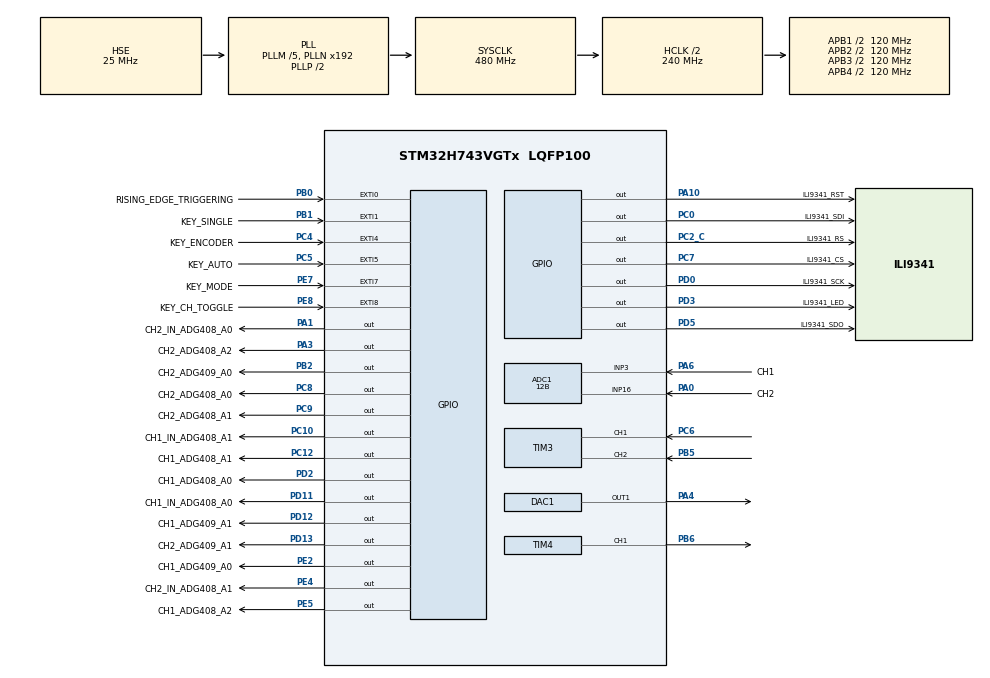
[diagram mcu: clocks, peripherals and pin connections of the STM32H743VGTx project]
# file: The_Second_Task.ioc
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ADC1.Channel-0\#ChannelRegularConversion=ADC_CHANNEL_3
ADC1.Channel-1\#ChannelRegularConversion=ADC_CHANNEL_16
ADC1.ConversionDataManagement=ADC_CONVERSIONDATA_DMA_CIRCULAR
ADC1.ExternalTrigConv=ADC_EXTERNALTRIG_T2_TRGO
ADC1.NbrOfConversion=2
ADC1.NbrOfConversionFlag=1
ADC1.OffsetNumber-0\#ChannelRegularConversion=ADC_OFFSET_NONE
ADC1.OffsetNumber-1\#ChannelRegularConversion=ADC_OFFSET_NONE
ADC1.OffsetSignedSaturation-0\#ChannelRegularConversion=DISABLE
ADC1.Overrun=ADC_OVR_DATA_OVERWRITTEN
ADC1.Rank-0\#ChannelRegularConversion=1
ADC1.Rank-1\#ChannelRegularConversion=2
ADC1.Resolution=ADC_RESOLUTION_12B
ADC1.SamplingTime-0\#ChannelRegularConversion=ADC_SAMPLETIME_1CYCLE_5
ADC1.SamplingTime-1\#ChannelRegularConversion=ADC_SAMPLETIME_1CYCLE_5
ADC1.master=1
CORTEX_M7.default_mode_Activation=1
DAC1.DAC_Channel-DAC_OUT1=DAC_CHANNEL_1
Dma.ADC1.0.Direction=DMA_PERIPH_TO_MEMORY
Dma.ADC1.0.EventEnable=DISABLE
Dma.ADC1.0.FIFOMode=DMA_FIFOMODE_DISABLE
Dma.ADC1.0.Instance=DMA1_Stream0
Dma.ADC1.0.MemDataAlignment=DMA_MDATAALIGN_HALFWORD
Dma.ADC1.0.MemInc=DMA_MINC_ENABLE
Dma.ADC1.0.Mode=DMA_CIRCULAR
Dma.ADC1.0.PeriphDataAlignment=DMA_PDATAALIGN_HALFWORD
Dma.ADC1.0.PeriphInc=DMA_PINC_DISABLE
Dma.ADC1.0.Polarity=HAL_DMAMUX_REQ_GEN_RISING
Dma.ADC1.0.Priority=DMA_PRIORITY_LOW
Dma.ADC1.0.RequestNumber=1
Dma.ADC1.0.SignalID=NONE
Dma.ADC1.0.SyncEnable=DISABLE
Dma.ADC1.0.SyncPolarity=HAL_DMAMUX_SYNC_NO_EVENT
Dma.ADC1.0.SyncRequestNumber=1
Dma.ADC1.0.SyncSignalID=NONE
Dma.Request0=ADC1
Mcu.Family=STM32H7
Mcu.Name=STM32H743VGTx
Mcu.Package=LQFP100
NVIC.DMA1_Stream0_IRQn=true\:0\:0\:false\:false\:true\:false\:true\:true
NVIC.EXTI0_IRQn=true\:0\:0\:false\:false\:true\:true\:true\:true
NVIC.EXTI1_IRQn=true\:0\:0\:false\:false\:true\:true\:true\:true
NVIC.EXTI4_IRQn=true\:0\:0\:false\:false\:true\:true\:true\:true
NVIC.EXTI9_5_IRQn=true\:0\:0\:false\:false\:true\:true\:true\:true
NVIC.PriorityGroup=NVIC_PRIORITYGROUP_4
PA0.GPIO_Label=CH2
PA0.Mode=IN16-Single-Ended
PA0.Signal=ADC1_INP16
PA1.GPIO_Label=CH2_IN_ADG408_A0
PA1.Signal=GPIO_Output
PA10.GPIO_Label=ILI9341_RST
PA10.Signal=GPIO_Output
PA13\ (JTMS/SWDIO).Mode=Serial_Wire
PA13\ (JTMS/SWDIO).Signal=DEBUG_JTMS-SWDIO
PA14\ (JTCK/SWCLK).Mode=Serial_Wire
PA14\ (JTCK/SWCLK).Signal=DEBUG_JTCK-SWCLK
PA3.GPIO_Label=CH2_ADG408_A2
PA3.GPIO_Speed=GPIO_SPEED_FREQ_HIGH
PA3.Signal=GPIO_Output
PA4.Signal=COMP_DAC11_group
PA6.GPIO_Label=CH1
PA6.Signal=ADCx_INP3
PB0.GPIO_Label=RISING_EDGE_TRIGGERING
PB0.GPIO_ModeDefaultEXTI=GPIO_MODE_IT_RISING
PB0.Signal=GPXTI0
PB1.GPIO_Label=KEY_SINGLE
PB1.GPIO_ModeDefaultEXTI=GPIO_MODE_IT_RISING
PB1.GPIO_PuPd=GPIO_PULLDOWN
PB1.Signal=GPXTI1
PB2.GPIO_Label=CH2_ADG409_A0
PB2.GPIO_Speed=GPIO_SPEED_FREQ_HIGH
PB2.Signal=GPIO_Output
PB5.Signal=S_TIM3_CH2
PB6.Signal=S_TIM4_CH1
PC0.GPIO_Label=ILI9341_SDI
PC0.Signal=GPIO_Output
PC10.GPIO_Label=CH1_IN_ADG408_A1
PC10.Signal=GPIO_Output
PC12.GPIO_Label=CH1_ADG408_A1
PC12.GPIO_Speed=GPIO_SPEED_FREQ_HIGH
PC12.Signal=GPIO_Output
PC2_C.GPIO_Label=ILI9341_RS
PC2_C.Signal=GPIO_Output
PC4.GPIO_Label=KEY_ENCODER
PC4.GPIO_ModeDefaultEXTI=GPIO_MODE_IT_FALLING
PC4.GPIO_PuPd=GPIO_PULLUP
PC4.Signal=GPXTI4
PC5.GPIO_Label=KEY_AUTO
PC5.GPIO_ModeDefaultEXTI=GPIO_MODE_IT_RISING
PC5.GPIO_PuPd=GPIO_PULLDOWN
PC5.Signal=GPXTI5
PC6.Signal=S_TIM3_CH1
PC7.GPIO_Label=ILI9341_CS
PC7.Signal=GPIO_Output
PC8.GPIO_Label=CH2_ADG408_A0
PC8.GPIO_Speed=GPIO_SPEED_FREQ_HIGH
PC8.Signal=GPIO_Output
PC9.GPIO_Label=CH2_ADG408_A1
PC9.GPIO_Speed=GPIO_SPEED_FREQ_HIGH
PC9.Signal=GPIO_Output
PD0.GPIO_Label=ILI9341_SCK
PD0.Signal=GPIO_Output
PD11.GPIO_Label=CH1_IN_ADG408_A0
PD11.Signal=GPIO_Output
PD12.GPIO_Label=CH1_ADG409_A1
PD12.GPIO_Speed=GPIO_SPEED_FREQ_HIGH
PD12.Signal=GPIO_Output
PD13.GPIO_Label=CH2_ADG409_A1
PD13.GPIO_Speed=GPIO_SPEED_FREQ_HIGH
PD13.Signal=GPIO_Output
PD2.GPIO_Label=CH1_ADG408_A0
PD2.GPIO_Speed=GPIO_SPEED_FREQ_HIGH
PD2.Signal=GPIO_Output
PD3.GPIO_Label=ILI9341_LED
PD3.Signal=GPIO_Output
PD5.GPIO_Label=ILI9341_SDO
PD5.Signal=GPIO_Output
PE2.GPIO_Label=CH1_ADG409_A0
PE2.GPIO_Speed=GPIO_SPEED_FREQ_HIGH
PE2.Signal=GPIO_Output
PE4.GPIO_Label=CH2_IN_ADG408_A1
PE4.Signal=GPIO_Output
PE5.GPIO_Label=CH1_ADG408_A2
PE5.GPIO_Speed=GPIO_SPEED_FREQ_HIGH
PE5.Signal=GPIO_Output
PE7.GPIO_Label=KEY_MODE
PE7.GPIO_ModeDefaultEXTI=GPIO_MODE_IT_RISING
PE7.GPIO_PuPd=GPIO_PULLDOWN
PE7.Signal=GPXTI7
PE8.GPIO_Label=KEY_CH_TOGGLE
PE8.GPIO_ModeDefaultEXTI=GPIO_MODE_IT_RISING
PE8.GPIO_PuPd=GPIO_PULLDOWN
PE8.Signal=GPXTI8
PH0-OSC_IN\ (PH0).Mode=HSE-External-Oscillator
PH0-OSC_IN\ (PH0).Signal=RCC_OSC_IN
PH1-OSC_OUT\ (PH1).Mode=HSE-External-Oscillator
PH1-OSC_OUT\ (PH1).Signal=RCC_OSC_OUT
ProjectManager.HeapSize=0x200
ProjectManager.StackSize=0x400
ProjectManager.TargetToolchain=CMake
RCC.ADCFreq_Value=75000000
RCC.APB1Freq_Value=120000000
RCC.APB2Freq_Value=120000000
RCC.APB3Freq_Value=120000000
RCC.APB4Freq_Value=120000000
RCC.CortexFreq_Value=480000000
RCC.D1PPRE=RCC_APB3_DIV2
RCC.D2PPRE1=RCC_APB1_DIV2
RCC.D2PPRE2=RCC_APB2_DIV2
RCC.D3PPRE=RCC_APB4_DIV2
RCC.DIVM1=5
RCC.DIVM2=2
RCC.DIVN1=192
RCC.DIVN2=12
RCC.HCLKFreq_Value=240000000
RCC.HPRE=RCC_HCLK_DIV2
RCC.PLL2FRACN=0
RCC.PLL3FRACN=0
RCC.PLLFRACN=0
RCC.PLLSourceVirtual=RCC_PLLSOURCE_HSE
RCC.SYSCLKFreq_VALUE=480000000
RCC.SYSCLKSource=RCC_SYSCLKSOURCE_PLLCLK
RCC.USBFreq_Value=480000000
SH.ADCx_INP3.0=ADC1_INP3,IN3-Single-Ended
SH.COMP_DAC11_group.0=DAC1_OUT1,DAC_OUT1
SH.S_TIM3_CH1.0=TIM3_CH1,Encoder_Interface
SH.S_TIM3_CH2.0=TIM3_CH2,Encoder_Interface
SH.S_TIM4_CH1.0=TIM4_CH1,PWM Generation1 CH1
TIM2.Period=1000
TIM2.TIM_MasterOutputTrigger=TIM_TRGO_UPDATE
TIM2.TIM_MasterSlaveMode=TIM_MASTERSLAVEMODE_ENABLE
TIM3.EncoderMode=TIM_ENCODERMODE_TI12
TIM4.Channel-PWM\ Generation1\ CH1=TIM_CHANNEL_1
TIM4.Period=999
TIM4.Prescaler=239
TIM4.Pulse-PWM\ Generation1\ CH1=500
VP_MEMORYMAP_VS_MEMORYMAP.Mode=CurAppReg
VP_TIM2_VS_ClockSourceINT.Mode=Internal
VP_TIM4_VS_ClockSourceINT.Mode=Internal
board=custom

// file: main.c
/* USER CODE BEGIN Header */
/**
  ******************************************************************************
  * @file           : main.c
  * @brief          : Main program body
  ******************************************************************************
  * @attention
  *
  * Copyright (c) 2026 STMicroelectronics.
  * All rights reserved.
  *
  * This software is licensed under terms that can be found in the LICENSE file
  * in the root directory of this software component.
  * If no LICENSE file comes with this software, it is provided AS-IS.
  *
  ******************************************************************************
  */
/* USER CODE END Header */
#include "main.h"
#include "adc.h"
#include "dac.h"
#include "dma.h"
#include "tim.h"
#include "gpio.h"

/* USER CODE BEGIN Includes */
#include "app_ui.h"
#include "algo_measure.h"
#include "ili9341_driver.h"
#include "bsp_adc.h"
#include "bsp_dac.h"
#include "bsp_timer.h"
#include "algo_trigger.h"
#include "bsp_encoder.h"
#include "app_calibration.h"
#include "app_auto.h"
#include "app_afe.h"
#include "algo_dsp.h"
/* USER CODE END Includes */

/* USER CODE BEGIN PV */
volatile uint8_t g_adc_half_ready = 0;
volatile uint8_t g_adc_full_ready = 0;
volatile uint8_t g_ui_display_channel = 1;
float g_display_zoom = 1.0f;
int8_t g_ch1_gear = 1;
int8_t g_ch2_gear = 1;
uint8_t g_ch1_coupling = 0;
uint8_t g_ch2_coupling = 0;

WaveParams_t g_out_put1 = {0};
WaveParams_t g_out_put2 = {0};
volatile OscState_t g_osc_state = OSC_STATE_RUN;

float g_ch1_volt_comp = 1.0f;
float g_ch2_volt_comp = 0.5f;
float g_ch1_freq_comp = 1.0f;
float g_ch2_freq_comp = 1.0f;

uint32_t current_sample_rate = 1000000;

uint16_t trigger_val_ch1 = 2048;
uint16_t trigger_val_ch2 = 2048;

uint8_t display_mode = 0;
uint8_t auto_flag = 0;
uint8_t cal_flag = 0;
uint8_t is_in_cal_mode = 0;
volatile KnobFocus_t current_focus = FOCUS_TRIGGER;

/* USER CODE END PV */

void SystemClock_Config(void);
static void MPU_Config(void);

int main(void)
{

  /* MPU Configuration--------------------------------------------------------*/
  MPU_Config();

  /* MCU Configuration--------------------------------------------------------*/

  /* Reset of all peripherals, Initializes the Flash interface and the Systick. */
  HAL_Init();

  /* Configure the system clock */
  SystemClock_Config();

  /* Initialize all configured peripherals */
  MX_GPIO_Init();
  MX_DMA_Init();
  MX_ADC1_Init();
  MX_TIM2_Init();
  MX_DAC1_Init();
  MX_TIM4_Init();
  MX_TIM3_Init();
  /* USER CODE BEGIN 2 */
  ILI9341_init(BLACK);
  BSP_Timer_SetSampleRate(current_sample_rate);
  BSP_Timer_Start();
  BSP_DAC_Init();
  BSP_DAC_SetVoltage(1.65f, 3.3f);
  BSP_Encoder_Init();
  BSP_ADC_Start();

  Algo_DSP_Init();

  AFE_SetGear_Dual(0);
  AFE_SetCoupling_Dual(0);
  /* USER CODE END 2 */

  /* Infinite loop */
  while (1)
  {

    /* USER CODE BEGIN 3 */
    //旋钮板块
    int16_t knob_delta = BSP_Encoder_GetDelta();
    if (knob_delta != 0)
    {
      switch (current_focus)
      {
        case FOCUS_TRIGGER:
        {
          int32_t temp_trig = (g_ui_display_channel == 1) ? trigger_val_ch1 : trigger_val_ch2;
          temp_trig += knob_delta * 50;
          if (temp_trig > 4095) temp_trig = 4095;
          if (temp_trig < 0) temp_trig = 0;

          if (g_ui_display_channel == 1)
          {
            trigger_val_ch1 = (uint16_t)temp_trig;
            BSP_DAC_SetVoltage(((float)trigger_val_ch1/4095.0f)*3.3f, 3.3f);
          }
          else
          {
            trigger_val_ch2 = (uint16_t)temp_trig;
            BSP_DAC_SetVoltage(((float)trigger_val_ch2/4095.0f)*3.3f, 3.3f);
          }
          break;
        }

        case FOCUS_VERTICAL:
        {
          int8_t* p_gear = (g_ui_display_channel == 1) ? &g_ch1_gear : &g_ch2_gear;
          if (knob_delta > 0 && *p_gear < 2) (*p_gear)++;
          if (knob_delta < 0 && *p_gear > 0) (*p_gear)--;
          AFE_SetGear_Single(g_ui_display_channel, *p_gear);
          break;
        }

        case FOCUS_TIMEBASE:
        {
          uint32_t virtual_sr = (uint32_t)(current_sample_rate * g_display_zoom);

          if (virtual_sr >= 1000000)     virtual_sr += knob_delta * 200000;
          else if (virtual_sr >= 100000) virtual_sr += knob_delta * 20000;
          else if (virtual_sr >= 10000)  virtual_sr += knob_delta * 2000;
          else if (virtual_sr >= 1000)   virtual_sr += knob_delta * 200;
          else                           virtual_sr += knob_delta * 20;

          if ((int32_t)virtual_sr < 10) virtual_sr = 10;
          if (virtual_sr > 10000000) virtual_sr = 10000000;

          uint32_t HARDWARE_MAX_SR = 1000000;

          if (virtual_sr > HARDWARE_MAX_SR)
          {
            current_sample_rate = HARDWARE_MAX_SR;
            g_display_zoom = (float)virtual_sr / (float)HARDWARE_MAX_SR;
          }
          else
          {
            current_sample_rate = virtual_sr;
            g_display_zoom = 1.0f;
          }

          BSP_Timer_SetSampleRate(current_sample_rate);
          break;
        }

        case FOCUS_COUPLING:
        {
          uint8_t* p_coup = (g_ui_display_channel == 1) ? &g_ch1_coupling : &g_ch2_coupling;
          *p_coup = !(*p_coup);

          AFE_SetCoupling_Single(g_ui_display_channel, *p_coup);
          break;
        }

        case FOCUS_CALIBRATION:
        {
          ILI9341_fill(0, 0, 240, 31, BLACK);
          is_in_cal_mode = !is_in_cal_mode;

          if (is_in_cal_mode)
          {
            ILI9341_draw_string(30, 8, "CAL MODE ON...", RED);

            int8_t* p_gear = (g_ui_display_channel == 1) ? &g_ch1_gear : &g_ch2_gear;
            *p_gear = 0;
            AFE_SetGear_Single(g_ui_display_channel, 0);

            AFE_EnterCalibrationMode(g_ui_display_channel);
            HAL_TIM_PWM_Start(&htim4, TIM_CHANNEL_1);
            cal_flag = 1;
          }
          else
          {
            ILI9341_draw_string(30, 8, "CAL MODE OFF...", WHITE);
            HAL_TIM_PWM_Stop(&htim4, TIM_CHANNEL_1);
            uint8_t prev_coup = (g_ui_display_channel == 1) ? g_ch1_coupling : g_ch2_coupling;
            AFE_SetCoupling_Single(g_ui_display_channel, prev_coup);
          }
          g_adc_full_ready = 0;
          break;
        }
      }
    }

    //单次触发板块
    if (g_osc_state == OSC_STATE_SINGLE_DONE)
    {
      UI_DrawGrid();
      g_adc_full_ready = 0;
      start_idx_ch1 = Algo_FindTriggerPoint(g_ch1_buffer, ADC_CHANNEL_SIZE, trigger_val_ch1);
      start_idx_ch2 = Algo_FindTriggerPoint(g_ch2_buffer, ADC_CHANNEL_SIZE, trigger_val_ch2);
      if (start_idx_ch1 != -1 && start_idx_ch2 != -1)
      {
        float phase_diff = Algo_Measure_PhaseDiff(g_ch1_buffer, g_ch2_buffer, ADC_CHANNEL_SIZE, current_sample_rate, g_out_put1.Freq);
        if (g_ui_display_channel == 1)UI_DrawTopInfoBar(1, &g_out_put1, g_ch1_gear, g_ch1_coupling, phase_diff);
        else if (g_ui_display_channel == 2) UI_DrawTopInfoBar(2, &g_out_put2, g_ch2_gear, g_ch2_coupling, phase_diff);

        UI_DrawWaveform(g_ch1_buffer, start_idx_ch1, YELLOW, 1);
        //UI_DrawWaveform(g_ch2_buffer, start_idx_ch2, CYAN, 2);
      }
      g_osc_state = OSC_STATE_STOP;
    }

    //连续采集显示
    if (g_adc_full_ready == 1 && g_osc_state == OSC_STATE_RUN)
    {
      BSP_ADC_Stop();
      g_adc_full_ready = 0;
      if (display_mode == 0)
      {
        start_idx_ch1 = Algo_FindTriggerPoint(g_ch1_buffer, ADC_CHANNEL_SIZE, trigger_val_ch1);
        if (start_idx_ch1 == -1)start_idx_ch1 = 0;

        Algo_Measure_Basic(g_ch1_buffer, ADC_CHANNEL_SIZE, current_sample_rate, &g_out_put1, g_ch1_volt_comp, g_ch1_freq_comp);
        Algo_Measure_Basic(g_ch2_buffer, ADC_CHANNEL_SIZE, current_sample_rate, &g_out_put2, g_ch2_volt_comp, g_ch2_freq_comp);
        float phase_diff = Algo_Measure_PhaseDiff(g_ch1_buffer, g_ch2_buffer, ADC_CHANNEL_SIZE, current_sample_rate, g_out_put1.Freq);

        if (start_idx_ch1 != -1 && start_idx_ch2 != -1)
        {
          if (g_ui_display_channel == 1)UI_DrawTopInfoBar(1, &g_out_put1, g_ch1_gear, g_ch1_coupling, phase_diff);
          else if (g_ui_display_channel == 2) UI_DrawTopInfoBar(2, &g_out_put2, g_ch2_gear, g_ch2_coupling, phase_diff);

          UI_DrawWaveform(g_ch1_buffer, start_idx_ch1, YELLOW, 1);
          //UI_DrawWaveform(g_ch2_buffer, start_idx_ch2, CYAN, 2);

          UI_DrawBottomFocus((int)current_focus);
        }
      }
      else if (display_mode == 1)
      {
        HarmonicData_t fft_result;
        Algo_DSP_Analyze(g_ch1_buffer, current_sample_rate, &fft_result);
        UI_DrawSpectrum(&fft_result);
        HAL_Delay(500);
      }
      BSP_ADC_Start();
    }

    if (auto_flag == 1)
    {
      auto_flag = 0;
      AUTO_Execute_All();
    }

    if (cal_flag == 1)
    {
      cal_flag = 0;
      AUTO_Execute_Calibration_Independent(g_ui_display_channel);
    }
  }
  /* USER CODE END 3 */
}

void SystemClock_Config(void)
{
  RCC_OscInitTypeDef RCC_OscInitStruct = {0};
  RCC_ClkInitTypeDef RCC_ClkInitStruct = {0};

  /** Supply configuration update enable
  */
  HAL_PWREx_ConfigSupply(PWR_LDO_SUPPLY);

  /** Configure the main internal regulator output voltage
  */
  __HAL_PWR_VOLTAGESCALING_CONFIG(PWR_REGULATOR_VOLTAGE_SCALE0);

  while(!__HAL_PWR_GET_FLAG(PWR_FLAG_VOSRDY)) {}

  /** Initializes the RCC Oscillators according to the specified parameters
  * in the RCC_OscInitTypeDef structure.
  */
  RCC_OscInitStruct.OscillatorType = RCC_OSCILLATORTYPE_HSE;
  RCC_OscInitStruct.HSEState = RCC_HSE_ON;
  RCC_OscInitStruct.PLL.PLLState = RCC_PLL_ON;
  RCC_OscInitStruct.PLL.PLLSource = RCC_PLLSOURCE_HSE;
  RCC_OscInitStruct.PLL.PLLM = 5;
  RCC_OscInitStruct.PLL.PLLN = 192;
  RCC_OscInitStruct.PLL.PLLP = 2;
  RCC_OscInitStruct.PLL.PLLQ = 2;
  RCC_OscInitStruct.PLL.PLLR = 2;
  RCC_OscInitStruct.PLL.PLLRGE = RCC_PLL1VCIRANGE_2;
  RCC_OscInitStruct.PLL.PLLVCOSEL = RCC_PLL1VCOWIDE;
  RCC_OscInitStruct.PLL.PLLFRACN = 0;
  if (HAL_RCC_OscConfig(&RCC_OscInitStruct) != HAL_OK)
  {
    Error_Handler();
  }

  /** Initializes the CPU, AHB and APB buses clocks
  */
  RCC_ClkInitStruct.ClockType = RCC_CLOCKTYPE_HCLK|RCC_CLOCKTYPE_SYSCLK
                              |RCC_CLOCKTYPE_PCLK1|RCC_CLOCKTYPE_PCLK2
                              |RCC_CLOCKTYPE_D3PCLK1|RCC_CLOCKTYPE_D1PCLK1;
  RCC_ClkInitStruct.SYSCLKSource = RCC_SYSCLKSOURCE_PLLCLK;
  RCC_ClkInitStruct.SYSCLKDivider = RCC_SYSCLK_DIV1;
  RCC_ClkInitStruct.AHBCLKDivider = RCC_HCLK_DIV2;
  RCC_ClkInitStruct.APB3CLKDivider = RCC_APB3_DIV2;
  RCC_ClkInitStruct.APB1CLKDivider = RCC_APB1_DIV2;
  RCC_ClkInitStruct.APB2CLKDivider = RCC_APB2_DIV2;
  RCC_ClkInitStruct.APB4CLKDivider = RCC_APB4_DIV2;

  if (HAL_RCC_ClockConfig(&RCC_ClkInitStruct, FLASH_LATENCY_4) != HAL_OK)
  {
    Error_Handler();
  }
}

/* USER CODE BEGIN 4 */

void HAL_GPIO_EXTI_Callback(uint16_t GPIO_Pin)
{
  uint32_t current_time = HAL_GetTick();

  if (GPIO_Pin == RISING_EDGE_TRIGGERING_Pin)
  {
    if (g_osc_state == OSC_STATE_SINGLE_WAIT)
    {
      BSP_ADC_Start();
      g_osc_state = OSC_STATE_SINGLE_RUN;
    }
  }
  if (GPIO_Pin == KEY_SINGLE_Pin)
  {
    static uint32_t last_single_time = 0;
    if (current_time - last_single_time > 200)
    {
      last_single_time = current_time;
      BSP_ADC_Stop();
      g_osc_state = OSC_STATE_SINGLE_WAIT;
    }
  }
  if (GPIO_Pin == KEY_MODE_Pin)
  {
    static uint32_t last_mode_time = 0;
    if (current_time - last_mode_time > 200)
    {
      last_mode_time = current_time;
      display_mode = !display_mode;
      ILI9341_clear(BLACK);
    }
  }
  if (GPIO_Pin == KEY_ENCODER_Pin)
  {
    static uint32_t last_enc_time = 0;
    if (current_time - last_enc_time > 200)
    {
      last_enc_time = current_time;
      if (current_focus == FOCUS_TRIGGER) current_focus = FOCUS_VERTICAL;
      else if (current_focus == FOCUS_VERTICAL) current_focus = FOCUS_TIMEBASE;
      else if (current_focus == FOCUS_TIMEBASE) current_focus = FOCUS_COUPLING;
      else if (current_focus == FOCUS_COUPLING) current_focus = FOCUS_CALIBRATION;
      else if (current_focus == FOCUS_CALIBRATION) current_focus = FOCUS_TRIGGER;
    }
  }
  if (GPIO_Pin == KEY_AUTO_Pin)
  {
    static uint32_t last_mode_time = 0;
    if (current_time - last_mode_time > 200)
    {
      auto_flag = 1;
    }
  }
  if (GPIO_Pin == KEY_CH_TOGGLE_Pin)
  {
    static uint32_t last_toggle_time = 0;
    if (current_time - last_toggle_time > 200)
    {
      last_toggle_time = current_time;
      g_ui_display_channel = (g_ui_display_channel == 1) ? 2 : 1;
    }
  }
}

/* USER CODE END 4 */

 /* MPU Configuration */

void MPU_Config(void)
{
  MPU_Region_InitTypeDef MPU_InitStruct = {0};

  /* Disables the MPU */
  HAL_MPU_Disable();

  /** Initializes and configures the Region and the memory to be protected
  */
  MPU_InitStruct.Enable = MPU_REGION_ENABLE;
  MPU_InitStruct.Number = MPU_REGION_NUMBER0;
  MPU_InitStruct.BaseAddress = 0x0;
  MPU_InitStruct.Size = MPU_REGION_SIZE_4GB;
  MPU_InitStruct.SubRegionDisable = 0x87;
  MPU_InitStruct.TypeExtField = MPU_TEX_LEVEL0;
  MPU_InitStruct.AccessPermission = MPU_REGION_NO_ACCESS;
  MPU_InitStruct.DisableExec = MPU_INSTRUCTION_ACCESS_DISABLE;
  MPU_InitStruct.IsShareable = MPU_ACCESS_SHAREABLE;
  MPU_InitStruct.IsCacheable = MPU_ACCESS_NOT_CACHEABLE;
  MPU_InitStruct.IsBufferable = MPU_ACCESS_NOT_BUFFERABLE;

  HAL_MPU_ConfigRegion(&MPU_InitStruct);
  /* Enables the MPU */
  HAL_MPU_Enable(MPU_PRIVILEGED_DEFAULT);

}

void Error_Handler(void)
{
  __disable_irq();
  while (1)
  {
  }
}
